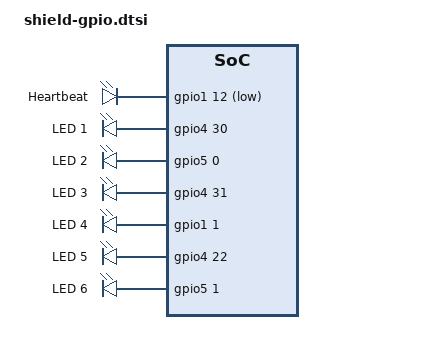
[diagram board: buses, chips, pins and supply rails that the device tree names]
// SPDX-License-Identifier: (GPL-2.0+ OR MIT)

/ {
	leds {
		compatible = "gpio-leds";
		pinctrl-names = "default";
		pinctrl-0 = <&pinctrl_gpio_led>;

		heartbeat-led {
			label = "Heartbeat";
			gpios = <&gpio1 12 GPIO_ACTIVE_LOW>;
			linux,default-trigger = "heartbeat";
		};

		led-1 {
			label = "LED 1";
			gpios = <&gpio4 30 GPIO_ACTIVE_HIGH>;
			default-state = "off";
		};

		led-2 {
			label = "LED 2";
			gpios = <&gpio5 0 GPIO_ACTIVE_HIGH>;
			default-state = "off";
		};

		led-3 {
			label = "LED 3";
			gpios = <&gpio4 31 GPIO_ACTIVE_HIGH>;
			default-state = "off";
		};

		led-4 {
			label = "LED 4";
			gpios = <&gpio1 1 GPIO_ACTIVE_HIGH>;
			default-state = "off";
		};

		led-5 {
			label = "LED 5";
			gpios = <&gpio4 22 GPIO_ACTIVE_HIGH>;
			default-state = "off";
		};

		led-6 {
			label = "LED 6";
			gpios = <&gpio5 1 GPIO_ACTIVE_HIGH>;
			default-state = "off";
		};
	};

	gpio-ctrl-pins {
		compatible = "gpio-ctrl-pins";
		pinctrl-names = "default";
		pinctrl-0 = <&pinctrl_ctrl_signals>;
		status = "okay";

		sim-switch {
			label = "SIM Select";
			gpios = <&gpio3 27 GPIO_ACTIVE_HIGH>;
		};

		cell-enabled {
			label = "Cellular Enabled";
			gpios = <&gpio4 12 GPIO_ACTIVE_LOW>;
		};

		wifi-power-down {
			label = "Wi-Fi Power Down";
			gpios = <&gpio5 12 GPIO_ACTIVE_HIGH>;
		};

		wifi-reset {
			label = "Wi-Fi Reset";
			gpios = <&gpio2 17 GPIO_ACTIVE_LOW>;
		};

		wifi-device-wake {
			label = "Wi-Fi Device Wake";
			gpios = <&gpio5 10 GPIO_ACTIVE_LOW>;
		};
	};
};
